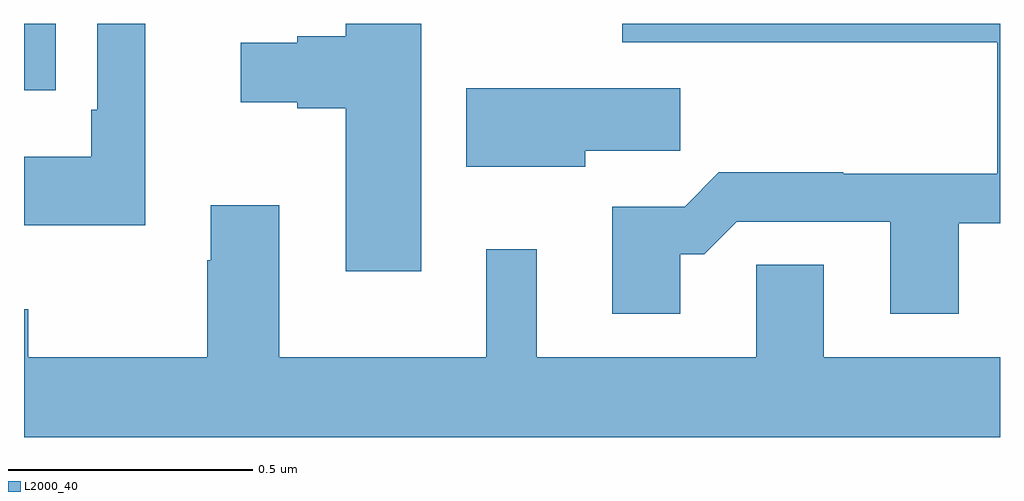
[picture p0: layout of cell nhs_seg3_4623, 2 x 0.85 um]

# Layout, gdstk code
import gdstk
lib = gdstk.Library(unit=1e-6, precision=1e-09)
def R(c, l, rs):  # rectangles x0, y0, x1, y1
    for r in rs: c.add(gdstk.rectangle(r[:2], r[2:], *l))
def P(c, l, *ps):  # polygons
    for p in ps: c.add(gdstk.Polygon(p, *l))
L2000_40 = (2000, 40)

nhs_seg3_4623 = lib.new_cell('nhs_seg3_4623')
R(nhs_seg3_4623, L2000_40, [(168,732.263,168.065,732.4)])
P(nhs_seg3_4623, L2000_40, [(168.248,732.4),(168.15,732.4),(168.15,732.223),(168.138,732.223),(168.138,732.127),(168,732.127),(168,731.987),(168.248,731.987)],
  [(168.814,732.4),(168.659,732.4),(168.659,732.374),(168.56,732.374),(168.56,732.361),(168.444,732.361),(168.444,732.239),(168.56,732.239),(168.56,732.227),(168.659,732.227),(168.659,731.892),(168.814,731.892)],
  [(169.345,731.927),(169.394,731.927),(169.461,731.994),(169.775,731.994),(169.775,731.805),(169.915,731.805),(169.915,731.991),(170,731.991),(170,732.4),(169.226,732.4),(169.226,732.362),(169.994,732.362),(169.994,732.092),(169.679,732.092),(169.679,732.095),(169.424,732.095),(169.354,732.025),(169.205,732.025),(169.205,731.805),(169.345,731.805)],
  [(169.15,732.139),(169.345,732.139),(169.345,732.268),(168.906,732.268),(168.906,732.107),(169.15,732.107)],
  [(168,731.815),(168,731.552),(170,731.552),(170,731.716),(169.639,731.716),(169.639,731.906),(169.5,731.906),(169.5,731.716),(169.051,731.716),(169.051,731.938),(168.947,731.938),(168.947,731.716),(168.523,731.716),(168.523,732.028),(168.383,732.028),(168.383,731.915),(168.376,731.915),(168.376,731.716),(168.009,731.716),(168.009,731.815)])

lib.write_gds('nhs_seg3_4623.gds')
